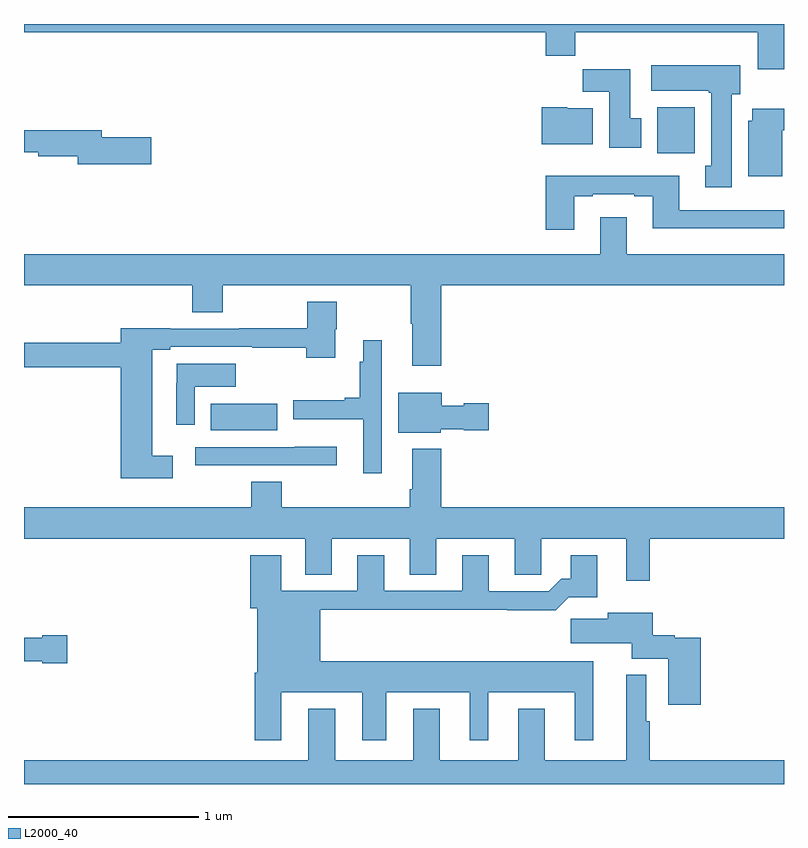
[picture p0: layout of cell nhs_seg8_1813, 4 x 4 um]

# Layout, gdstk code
import gdstk
lib = gdstk.Library(unit=1e-6, precision=1e-09)
def R(c, l, rs):  # rectangles x0, y0, x1, y1
    for r in rs: c.add(gdstk.rectangle(r[:2], r[2:], *l))
def P(c, l, *ps):  # polygons
    for p in ps: c.add(gdstk.Polygon(p, *l))
L2000_40 = (2000, 40)

nhs_seg8_1813 = lib.new_cell('nhs_seg8_1813')
R(nhs_seg8_1813, L2000_40, [(227.983,1091.762,228.333,1091.902), (230.333,1093.22,230.53,1093.462)])
P(nhs_seg8_1813, L2000_40, [(231,1093.9),(227,1093.9),(227,1093.856),(229.745,1093.856),(229.745,1093.732),(229.901,1093.732),(229.901,1093.856),(230.861,1093.856),(230.861,1093.662),(231,1093.662)],
  [(230.725,1093.53),(230.77,1093.53),(230.77,1093.684),(230.301,1093.684),(230.301,1093.55),(230.605,1093.55),(230.605,1093.537),(230.618,1093.537),(230.618,1093.154),(230.585,1093.154),(230.585,1093.041),(230.725,1093.041)],
  [(230.248,1093.404),(230.191,1093.404),(230.191,1093.663),(229.942,1093.663),(229.942,1093.544),(230.081,1093.544),(230.081,1093.248),(230.248,1093.248)],
  [(229.993,1093.456),(229.86,1093.456),(229.86,1093.462),(229.724,1093.462),(229.724,1093.268),(229.993,1093.268)],
  [(230.992,1093.34),(231,1093.34),(231,1093.453),(230.834,1093.453),(230.834,1093.392),(230.813,1093.392),(230.813,1093.1),(230.992,1093.1)],
  [(227.671,1093.304),(227.41,1093.304),(227.41,1093.34),(227,1093.34),(227,1093.224),(227.074,1093.224),(227.074,1093.204),(227.282,1093.204),(227.282,1093.162),(227.671,1093.162)],
  [(229.897,1092.993),(229.993,1092.993),(229.993,1093.005),(230.213,1093.005),(230.213,1092.993),(230.309,1092.993),(230.309,1092.824),(231,1092.824),(231,1092.921),(230.449,1092.921),(230.449,1093.102),(229.745,1093.102),(229.745,1092.816),(229.897,1092.816)],
  [(229.196,1092.524),(231,1092.524),(231,1092.688),(230.173,1092.688),(230.173,1092.883),(230.033,1092.883),(230.033,1092.688),(227,1092.688),(227,1092.524),(227.885,1092.524),(227.885,1092.382),(228.045,1092.382),(228.045,1092.524),(229.036,1092.524),(229.036,1092.322),(229.043,1092.322),(229.043,1092.102),(229.196,1092.102)],
  [(227.782,1091.627),(227.674,1091.627),(227.674,1092.185),(227.77,1092.185),(227.77,1092.201),(228.202,1092.201),(228.202,1092.196),(228.485,1092.196),(228.485,1092.144),(228.637,1092.144),(228.637,1092.294),(228.645,1092.294),(228.645,1092.439),(228.49,1092.439),(228.49,1092.3),(228.133,1092.3),(228.133,1092.297),(227.77,1092.297),(227.77,1092.3),(227.51,1092.3),(227.51,1092.223),(227,1092.223),(227,1092.094),(227.51,1092.094),(227.51,1091.51),(227.782,1091.51)],
  [(228.882,1092.013),(228.883,1092.013),(228.883,1092.235),(228.785,1092.235),(228.785,1092.122),(228.766,1092.122),(228.766,1091.932),(228.689,1091.932),(228.689,1091.919),(228.418,1091.919),(228.418,1091.819),(228.785,1091.819),(228.785,1091.535),(228.882,1091.535)],
  [(227.898,1091.99),(228.115,1091.99),(228.115,1092.111),(227.803,1092.111),(227.803,1092.008),(227.802,1092.008),(227.802,1091.79),(227.898,1091.79)],
  [(229.194,1091.768),(229.314,1091.768),(229.314,1091.761),(229.447,1091.761),(229.447,1091.903),(229.314,1091.903),(229.314,1091.89),(229.198,1091.89),(229.198,1091.959),(228.971,1091.959),(228.971,1091.75),(229.194,1091.75)],
  [(228.646,1091.674),(228.426,1091.674),(228.426,1091.673),(227.901,1091.673),(227.901,1091.577),(228.646,1091.577)],
  [(230.293,1091.192),(231,1091.192),(231,1091.356),(229.196,1091.356),(229.196,1091.665),(229.043,1091.665),(229.043,1091.452),(229.031,1091.452),(229.031,1091.356),(228.356,1091.356),(228.356,1091.492),(228.196,1091.492),(228.196,1091.356),(227,1091.356),(227,1091.192),(228.479,1091.192),(228.479,1091.002),(228.619,1091.002),(228.619,1091.192),(229.031,1091.192),(229.031,1091.002),(229.171,1091.002),(229.171,1091.192),(229.583,1091.192),(229.583,1091.002),(229.722,1091.002),(229.722,1091.192),(230.171,1091.192),(230.171,1090.971),(230.293,1090.971)],
  [(228.355,1090.382),(228.779,1090.382),(228.779,1090.131),(228.907,1090.131),(228.907,1090.382),(229.346,1090.382),(229.346,1090.131),(229.444,1090.131),(229.444,1090.382),(229.898,1090.382),(229.898,1090.131),(229.996,1090.131),(229.996,1090.546),(228.559,1090.546),(228.559,1090.816),(229.543,1090.816),(229.543,1090.814),(229.799,1090.814),(229.868,1090.883),(230.017,1090.883),(230.017,1091.104),(229.877,1091.104),(229.877,1090.981),(229.828,1090.981),(229.761,1090.914),(229.447,1090.914),(229.447,1091.104),(229.307,1091.104),(229.307,1090.917),(228.895,1090.917),(228.895,1091.104),(228.755,1091.104),(228.755,1090.917),(228.355,1090.917),(228.355,1091.104),(228.191,1091.104),(228.191,1090.824),(228.227,1090.824),(228.227,1090.486),(228.215,1090.486),(228.215,1090.131),(228.355,1090.131)],
  [(230.561,1090.669),(230.424,1090.669),(230.424,1090.682),(230.308,1090.682),(230.308,1090.801),(230.072,1090.801),(230.072,1090.769),(229.878,1090.769),(229.878,1090.64),(230.198,1090.64),(230.198,1090.559),(230.39,1090.559),(230.39,1090.317),(230.561,1090.317)],
  [(227.227,1090.682),(227.097,1090.682),(227.097,1090.669),(227,1090.669),(227,1090.547),(227.097,1090.547),(227.097,1090.535),(227.227,1090.535)],
  [(231,1090.024),(230.293,1090.024),(230.293,1090.229),(230.275,1090.229),(230.275,1090.474),(230.171,1090.474),(230.171,1090.024),(229.741,1090.024),(229.741,1090.297),(229.601,1090.297),(229.601,1090.024),(229.189,1090.024),(229.189,1090.297),(229.049,1090.297),(229.049,1090.024),(228.637,1090.024),(228.637,1090.297),(228.497,1090.297),(228.497,1090.024),(227,1090.024),(227,1089.9),(231,1089.9)])

lib.write_gds('nhs_seg8_1813.gds')
